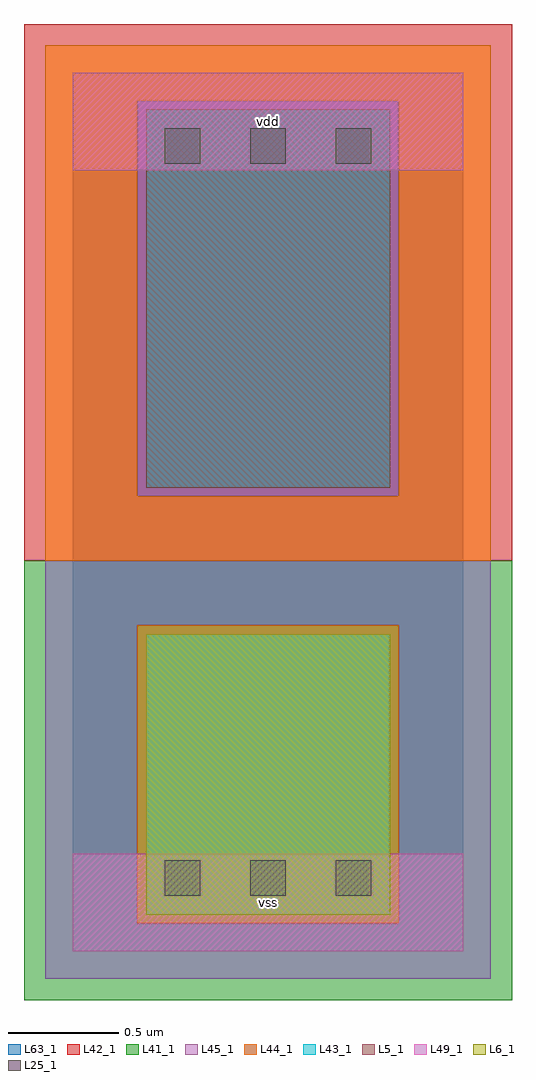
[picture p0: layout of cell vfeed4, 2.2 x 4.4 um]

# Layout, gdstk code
import gdstk
lib = gdstk.Library(unit=1e-6, precision=1e-09)
def R(c, l, rs):  # rectangles x0, y0, x1, y1
    for r in rs: c.add(gdstk.rectangle(r[:2], r[2:], *l))
def A(c, l, x, y, w, h, nx, ny, dx, dy):  # array of equal rectangles
    R(c, l, [(x+i*dx, y+j*dy, x+i*dx+w, y+j*dy+h) for i in range(nx) for j in range(ny)])
L5_1 = (5, 1)
L6_1 = (6, 1)
L25_1 = (25, 1)
L41_1 = (41, 1)
L42_1 = (42, 1)
L43_1 = (43, 1)
L44_1 = (44, 1)
L45_1 = (45, 1)
L49_1 = (49, 1)
L63_1 = (63, 1)

vfeed4 = lib.new_cell('vfeed4')
R(vfeed4, L5_1, [(0.33,2.09,1.43,3.795)])
R(vfeed4, L6_1, [(0.33,0.165,1.43,1.43)])
A(vfeed4, L25_1, 0.415, 0.25, 0.16, 0.16, 3, 2, 0.385, 3.3)
R(vfeed4, L41_1, [(-0.22,-0.22,1.98,1.76)])
R(vfeed4, L42_1, [(-0.22,1.76,1.98,4.18)])
R(vfeed4, L43_1, [(0.33,0.165,1.43,1.43), (0.33,2.09,1.43,3.795)])
R(vfeed4, L44_1, [(0.29,0.125,1.47,1.47), (-0.125,1.76,1.885,2.05), (-0.125,2.05,0.29,3.835), (1.47,2.05,1.885,3.835), (-0.125,3.835,1.885,4.085)])
R(vfeed4, L45_1, [(-0.125,-0.125,1.885,0.125), (-0.125,0.125,0.29,1.47), (1.47,0.125,1.885,1.47), (-0.125,1.47,1.885,1.76), (0.29,2.05,1.47,3.835)])
R(vfeed4, L49_1, [(0,0,1.76,0.44), (0,3.52,1.76,3.96)])
R(vfeed4, L63_1, [(0,0,1.76,3.96)])
vfeed4.add(gdstk.Label('vss', (0.88,0.22), layer=49, texttype=1))
vfeed4.add(gdstk.Label('vdd', (0.88,3.74), layer=49, texttype=1))

lib.write_gds('vfeed4.gds')
